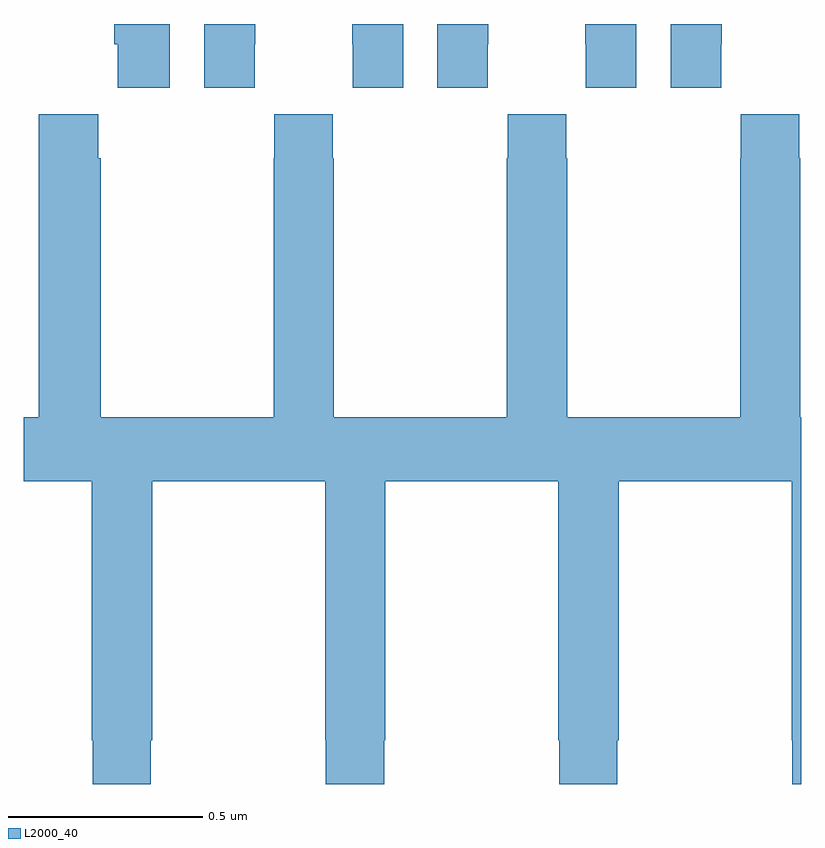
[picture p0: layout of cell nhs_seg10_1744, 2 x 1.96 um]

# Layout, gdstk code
import gdstk
lib = gdstk.Library(unit=1e-6, precision=1e-09)
def P(c, l, *ps):  # polygons
    for p in ps: c.add(gdstk.Polygon(p, *l))
L2000_40 = (2000, 40)

nhs_seg10_1744 = lib.new_cell('nhs_seg10_1744')
P(nhs_seg10_1744, L2000_40, [(132.376,1293.5),(132.233,1293.5),(132.233,1293.448),(132.242,1293.448),(132.242,1293.336),(132.376,1293.336)],
  [(132.594,1293.448),(132.595,1293.448),(132.595,1293.5),(132.464,1293.5),(132.464,1293.336),(132.594,1293.336)],
  [(132.976,1293.5),(132.845,1293.5),(132.845,1293.448),(132.846,1293.448),(132.846,1293.336),(132.976,1293.336)],
  [(133.194,1293.448),(133.195,1293.448),(133.195,1293.5),(133.064,1293.5),(133.064,1293.336),(133.194,1293.336)],
  [(133.576,1293.5),(133.445,1293.5),(133.445,1293.448),(133.446,1293.448),(133.446,1293.336),(133.576,1293.336)],
  [(133.794,1293.448),(133.795,1293.448),(133.795,1293.5),(133.664,1293.5),(133.664,1293.336),(133.794,1293.336)],
  [(132.327,1291.657),(132.33,1291.657),(132.33,1292.324),(132.775,1292.324),(132.775,1291.657),(132.777,1291.657),(132.777,1291.545),(132.927,1291.545),(132.927,1291.657),(132.93,1291.657),(132.93,1292.324),(133.375,1292.324),(133.375,1291.657),(133.377,1291.657),(133.377,1291.545),(133.527,1291.545),(133.527,1291.657),(133.53,1291.657),(133.53,1292.324),(133.975,1292.324),(133.975,1291.657),(133.977,1291.657),(133.977,1291.545),(134,1291.545),(134,1292.488),(133.998,1292.488),(133.998,1293.155),(133.995,1293.155),(133.995,1293.268),(133.845,1293.268),(133.845,1293.155),(133.843,1293.155),(133.843,1292.488),(133.398,1292.488),(133.398,1293.155),(133.395,1293.155),(133.395,1293.268),(133.245,1293.268),(133.245,1293.155),(133.243,1293.155),(133.243,1292.488),(132.798,1292.488),(132.798,1293.155),(132.795,1293.155),(132.795,1293.268),(132.645,1293.268),(132.645,1293.155),(132.643,1293.155),(132.643,1292.488),(132.198,1292.488),(132.198,1293.155),(132.191,1293.155),(132.191,1293.268),(132.038,1293.268),(132.038,1292.488),(132,1292.488),(132,1292.324),(132.175,1292.324),(132.175,1291.657),(132.177,1291.657),(132.177,1291.545),(132.327,1291.545)])

lib.write_gds('nhs_seg10_1744.gds')
